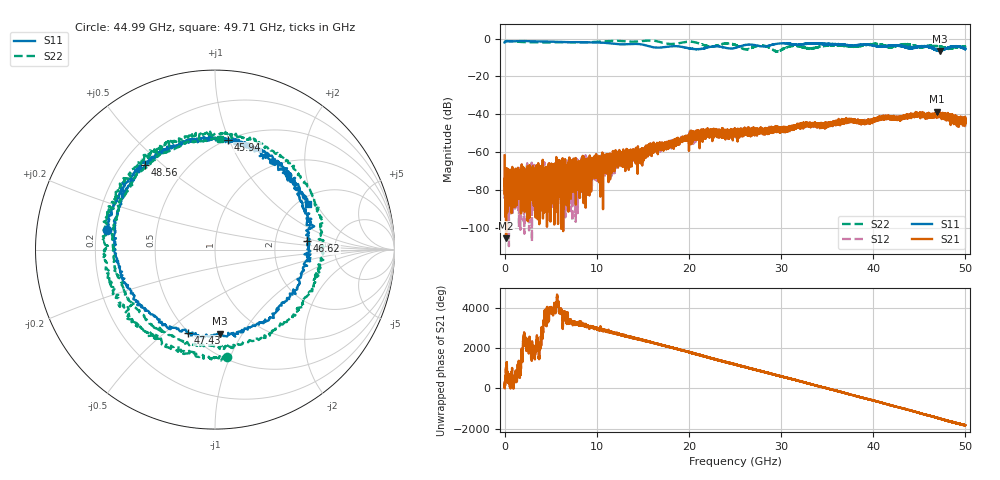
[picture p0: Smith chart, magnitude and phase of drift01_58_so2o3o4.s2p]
!Created with skrf (http://scikit-rf.org).
# Hz S RI R 50.0
!freq ReS11 ImS11 ReS21 ImS21 ReS12 ImS12 ReS22 ImS22
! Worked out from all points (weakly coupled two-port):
!   10001 points, 300 kHz to 50 GHz, reference 50 ohm
!   highest |S21| = -38.73 dB at 46.88 GHz (marker M1); lowest = -105.5 dB at 160.3 MHz (marker M2)
!   lowest |S11| = -6.6 dB at 47.28 GHz (marker M3), VSWR 2.76, Z = 33.5 - j40.1 ohm
!   |S11| at or under -10 dB: nowhere
!   |S22| runs from -6.8 to -1.0 dB; largest |S21 - S12| = 0.0038
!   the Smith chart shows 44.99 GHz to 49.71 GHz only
!   S11 on the Smith chart (normalised r, x): 44.99 GHz: 0.24, +0.08; 45.94 GHz: 0.50, +0.99; 46.62 GHz: 3.07, +0.41; 47.43 GHz: 0.50, -0.60; 48.56 GHz: 0.29, +0.44; 49.71 GHz: 2.24, +1.72
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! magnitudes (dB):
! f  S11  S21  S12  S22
! 300 kHz  -2.1  -61.7  -77.4  -1.3
! 160.3 MHz  -1.5  -105.5  -77.4  -1.4
! 405.3 MHz  -1.4  -72.8  -73.8  -1.4
! 2.24 GHz  -1.4  -71.4  -77.1  -1.9
! 6.975 GHz  -1.9  -68.8  -67.5  -1.9
! 8.335 GHz  -1.9  -71.8  -67.0  -2.1
! 16.67 GHz  -4.8  -56.0  -57.3  -1.6
! 22.1 GHz  -4.6  -49.4  -50.4  -4.1
! 25 GHz  -5.0  -49.1  -49.6  -3.4
! 29.53 GHz  -2.8  -49.5  -47.3  -6.7
! 31.27 GHz  -3.0  -46.3  -46.6  -4.0
! 33.34 GHz  -2.6  -45.4  -45.6  -5.2
! 41.67 GHz  -3.9  -41.7  -41.4  -4.4
! 44.99 GHz  -4.2  -41.0  -40.4  -4.4
! 45.94 GHz  -4.2  -40.9  -40.1  -4.0
! 46.62 GHz  -5.7  -41.1  -41.0  -3.8
! 46.88 GHz  -6.2  -38.7  -41.0  -4.0
! 47.28 GHz  -6.6  -40.2  -40.4  -4.3
! 47.43 GHz  -6.3  -42.6  -40.3  -4.4
! 48.56 GHz  -4.3  -43.0  -41.8  -5.0
! 49.71 GHz  -4.8  -42.2  -43.3  -4.2
! 50 GHz  -5.4  -42.5  -43.5  -4.2
